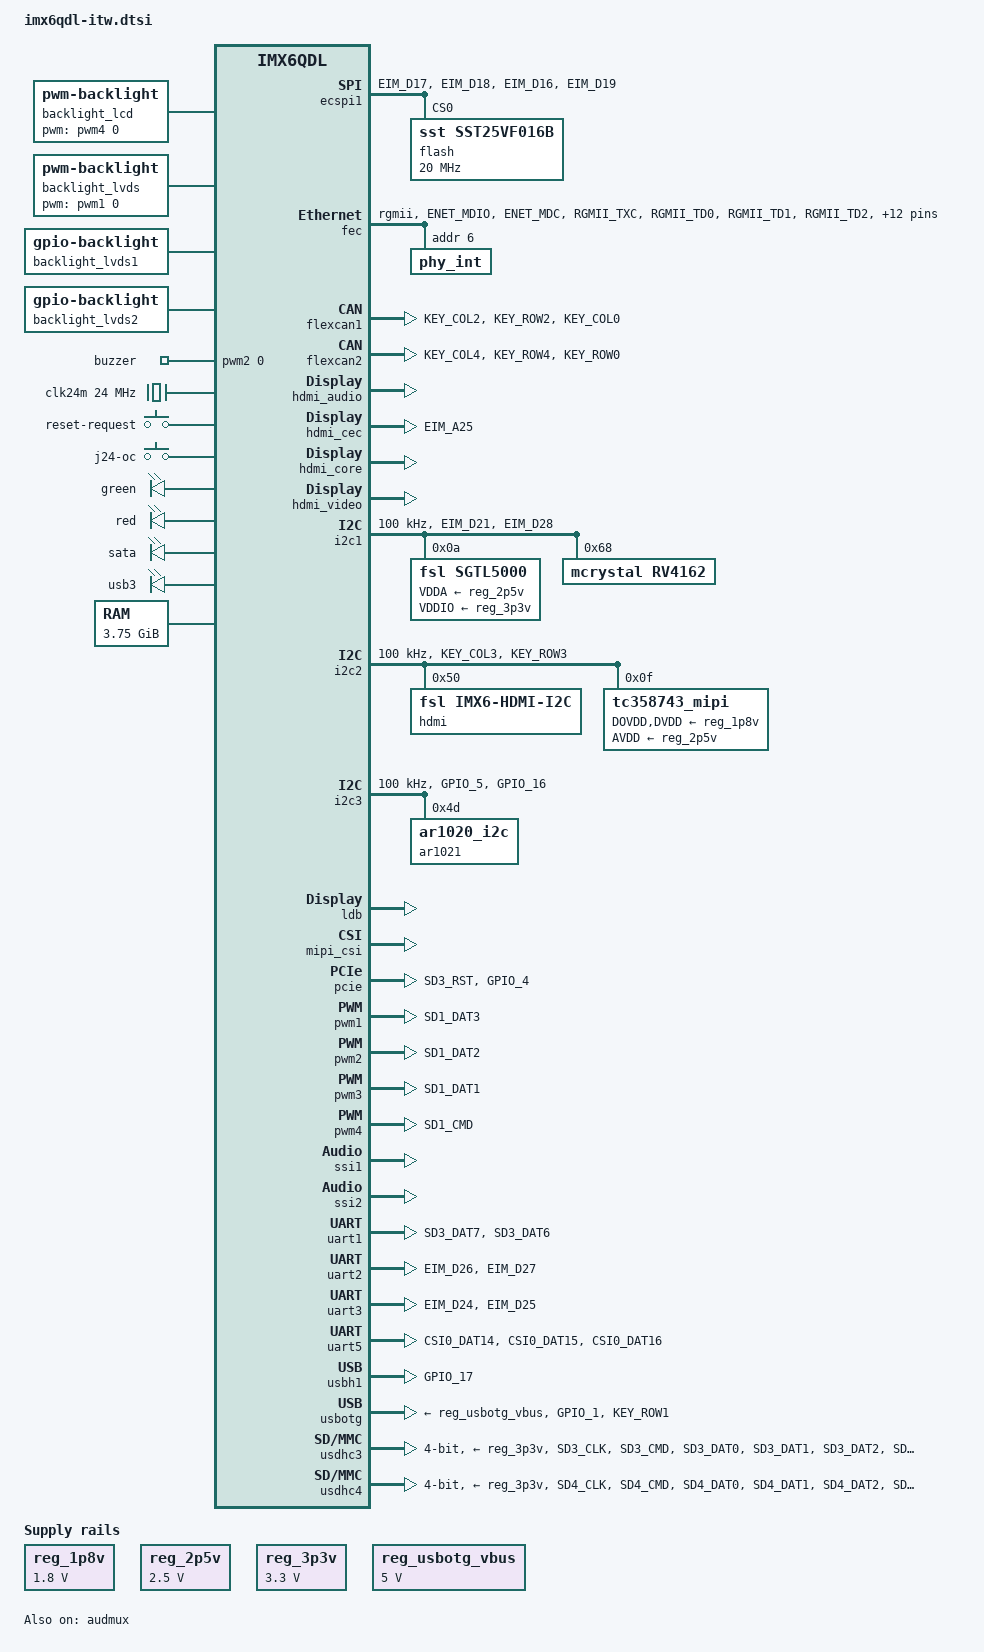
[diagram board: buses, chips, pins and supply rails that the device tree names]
/*
 * Copyright 2016 Boundary Devices, Inc.
 * Copyright 2012 Freescale Semiconductor, Inc.
 * Copyright 2011 Linaro Ltd.
 *
 * The code contained herein is licensed under the GNU General Public
 * License. You may obtain a copy of the GNU General Public License
 * Version 2 or later at the following locations:
 *
 * http://www.opensource.org/licenses/gpl-license.html
 * http://www.gnu.org/copyleft/gpl.html
 */
#include <dt-bindings/input/input.h>

&iomuxc {
	pinctrl-names = "default";
	pinctrl-0 = <&pinctrl_hog>;

	iomuxc_imx6q_itw: iomuxc-imx6q-itwgrp {
		status = "okay";
	};
};

&iomuxc_imx6q_itw {
	pinctrl_audmux: audmuxgrp {
		fsl,pins = <
			MX6QDL_PAD_CSI0_DAT7__AUD3_RXD		0x130b0
			MX6QDL_PAD_CSI0_DAT4__AUD3_TXC		0x130b0
			MX6QDL_PAD_CSI0_DAT5__AUD3_TXD		0x110b0
			MX6QDL_PAD_CSI0_DAT6__AUD3_TXFS		0x130b0
		>;
	};

	pinctrl_audmux_tc358743: audmux-tc358743grp {
		fsl,pins = <
			MX6QDL_PAD_SD2_DAT0__AUD4_RXD		0x130b0		/* pin 3 */
			MX6QDL_PAD_SD2_CMD__AUD4_RXC		0x130b0		/* pin 2 */
			MX6QDL_PAD_SD2_CLK__AUD4_RXFS		0x130b0		/* pin 1 */
		>;
	};

	pinctrl_backlight_lvds1_pwr: lvds1_pwrgrp {
		fsl,pins = <
#define GP_LVDS1_PWR_EN			<&gpio7 13 GPIO_ACTIVE_HIGH>
			MX6QDL_PAD_GPIO_18__GPIO7_IO13		0x030b0
#define GP_LVDS1_12V_5V_BL_SELECT	<&gpio1 9 GPIO_ACTIVE_HIGH>
			MX6QDL_PAD_GPIO_9__GPIO1_IO09		0x030b0
		>;
	};

	pinctrl_backlight_lvds2_pwr: lvds2_pwrgrp {
		fsl,pins = <
#define GP_LVDS2_PWR_EN			<&gpio4 5 GPIO_ACTIVE_HIGH>
			MX6QDL_PAD_GPIO_19__GPIO4_IO05		0x030b0
#define GP_LVDS2_12V_5V_BL_SELECT	<&gpio1 7 GPIO_ACTIVE_HIGH>
			MX6QDL_PAD_GPIO_7__GPIO1_IO07		0x030b0
		>;
	};

	pinctrl_backlight_rgb_pwr: rgb_pwrgrp {
		fsl,pins = <
#define GP_RGB_PWR_EN			<&gpio1 2 GPIO_ACTIVE_HIGH>
			MX6QDL_PAD_GPIO_2__GPIO1_IO02		0x030b0
#define GP_RGB_12V_5V_BL_SELECT		<&gpio1 8 GPIO_ACTIVE_HIGH>
			MX6QDL_PAD_GPIO_8__GPIO1_IO08		0x030b0
		>;
	};

	pinctrl_ecspi1: ecspi1grp {
		fsl,pins = <
			MX6QDL_PAD_EIM_D17__ECSPI1_MISO		0x100b1
			MX6QDL_PAD_EIM_D18__ECSPI1_MOSI		0x100b1
			MX6QDL_PAD_EIM_D16__ECSPI1_SCLK		0x000b1
#define GP_ECSPI1_NOR_CS		<&gpio3 19 GPIO_ACTIVE_LOW>
			MX6QDL_PAD_EIM_D19__GPIO3_IO19		0x0b0b1
		>;
	};

	pinctrl_enet: enetgrp {
		fsl,pins = <
			MX6QDL_PAD_ENET_MDIO__ENET_MDIO		0x1b0b0
			MX6QDL_PAD_ENET_MDC__ENET_MDC		0x1b0b0
			MX6QDL_PAD_RGMII_TXC__RGMII_TXC		0x1b0b0
			MX6QDL_PAD_RGMII_TD0__RGMII_TD0		0x1b0b0
			MX6QDL_PAD_RGMII_TD1__RGMII_TD1		0x1b0b0
			MX6QDL_PAD_RGMII_TD2__RGMII_TD2		0x1b0b0
			MX6QDL_PAD_RGMII_TD3__RGMII_TD3		0x1b0b0
			MX6QDL_PAD_RGMII_TX_CTL__RGMII_TX_CTL	0x1b0b0
			MX6QDL_PAD_ENET_REF_CLK__ENET_TX_CLK	0x1b0b0
			MX6QDL_PAD_RGMII_RXC__RGMII_RXC		0x1b0b0
			MX6QDL_PAD_RGMII_RD0__RGMII_RD0		0x1b0b0
			MX6QDL_PAD_RGMII_RD1__RGMII_RD1		0x1b0b0
			MX6QDL_PAD_RGMII_RD2__RGMII_RD2		0x1b0b0
			MX6QDL_PAD_RGMII_RD3__RGMII_RD3		0x1b0b0
			MX6QDL_PAD_RGMII_RX_CTL__RGMII_RX_CTL	0x1b0b0
#define GP_ENET_PHY_RESET		<&gpio1 27 GPIO_ACTIVE_LOW>
			MX6QDL_PAD_ENET_RXD0__GPIO1_IO27	0x030b0		/* ethernet phy reset */
#define GPIRQ_ENET_PHY			<&gpio1 28 IRQ_TYPE_LEVEL_LOW>
			MX6QDL_PAD_ENET_TX_EN__GPIO1_IO28	0x1b0b0		/* ethernet phy interrupt */
#define GPIRQ_ENET			<&gpio1 6 IRQ_TYPE_LEVEL_HIGH>
			MX6QDL_PAD_GPIO_6__ENET_IRQ		0x000b1
		>;
	};

	pinctrl_flexcan1: flexcan1grp {
		fsl,pins = <
			MX6QDL_PAD_KEY_COL2__FLEXCAN1_TX	0x1b0b0
			MX6QDL_PAD_KEY_ROW2__FLEXCAN1_RX	0x1b0b0
#define GP_FLEXCAN1_STANDBY		<&gpio4 6 GPIO_ACTIVE_HIGH>
			MX6QDL_PAD_KEY_COL0__GPIO4_IO06		0x0b0b0
		>;
	};

	pinctrl_flexcan2: flexcan2grp {
		fsl,pins = <
			MX6QDL_PAD_KEY_COL4__FLEXCAN2_TX	0x1b0b0
			MX6QDL_PAD_KEY_ROW4__FLEXCAN2_RX	0x1b0b0
#define GP_FLEXCAN2_STANDBY		<&gpio4 7 GPIO_ACTIVE_HIGH>
			MX6QDL_PAD_KEY_ROW0__GPIO4_IO07		0x0b0b0
		>;
	};

	pinctrl_gpio_keys: gpio-keysgrp {
		fsl,pins = <
#define GP_GPIOKEY_RESET_REQUEST <&gpio3 31 GPIO_ACTIVE_LOW>
			MX6QDL_PAD_EIM_D31__GPIO3_IO31		0x1b0b0
#define GP_GPIOKEY_J24_OC		<&gpio5 15 GPIO_ACTIVE_LOW>
			MX6QDL_PAD_DISP0_DAT21__GPIO5_IO15	0x1b0b0
		>;
	};

	pinctrl_gpio_leds: gpio-ledsgrp {
		fsl,pins = <
#define GP_GPIOLEDS_GREEN		<&gpio3 12 GPIO_ACTIVE_LOW>
			MX6QDL_PAD_EIM_DA12__GPIO3_IO12		0x0b0b0
#define GP_GPIOLEDS_RED			<&gpio3 6 GPIO_ACTIVE_LOW>
			MX6QDL_PAD_EIM_DA6__GPIO3_IO06		0x0b0b0
#define GP_GPIOLEDS_SATA		<&gpio2 17 GPIO_ACTIVE_LOW>
			MX6QDL_PAD_EIM_A21__GPIO2_IO17		0x0b0b0
#define GP_GPIOLEDS_USB3		<&gpio2 22 GPIO_ACTIVE_HIGH>
			MX6QDL_PAD_EIM_A16__GPIO2_IO22		0x030b0
		>;
	};

	pinctrl_hdmi_cec: hdmi-cecgrp {
		fsl,pins = <
			MX6QDL_PAD_EIM_A25__HDMI_TX_CEC_LINE	0x1f8b0
		>;
	};

	pinctrl_hog: hoggrp {
		fsl,pins = <
#define GP_RESET1			<&gpio5 26 GPIO_ACTIVE_LOW>
			MX6QDL_PAD_CSI0_DAT8__GPIO5_IO26	0x030b0
#define GP_RESET2			<&gpio5 27 GPIO_ACTIVE_LOW>
			MX6QDL_PAD_CSI0_DAT9__GPIO5_IO27	0x030b0
#define GP_RESET3			<&gpio5 28 GPIO_ACTIVE_LOW>
			MX6QDL_PAD_CSI0_DAT10__GPIO5_IO28	0x030b0
#define GP_RESET4			<&gpio5 29 GPIO_ACTIVE_LOW>
			MX6QDL_PAD_CSI0_DAT11__GPIO5_IO29	0x030b0
#define GP_RESET5			<&gpio5 30 GPIO_ACTIVE_LOW>
			MX6QDL_PAD_CSI0_DAT12__GPIO5_IO30	0x030b0

#define GP_12V_EN			<&gpio4 20 GPIO_ACTIVE_HIGH>
			MX6QDL_PAD_DI0_PIN4__GPIO4_IO20		0x030b0
#define GP_J24_EN			<&gpio5 16 GPIO_ACTIVE_HIGH>
			MX6QDL_PAD_DISP0_DAT22__GPIO5_IO16	0x030b0
#define GP_AT91_RESET			<&gpio5 17 GPIO_ACTIVE_LOW>
			MX6QDL_PAD_DISP0_DAT23__GPIO5_IO17	0x0b0b0
#define GP_CPU_RESET			<&gpio1 3 GPIO_ACTIVE_HIGH>
			MX6QDL_PAD_GPIO_3__GPIO1_IO03		0x030b0

#define GP_TP80				<&gpio5 31 GPIO_ACTIVE_HIGH>
			MX6QDL_PAD_CSI0_DAT13__GPIO5_IO31	0x1b0b0
#define GP_TP82				<&gpio2 23 GPIO_ACTIVE_HIGH>
			MX6QDL_PAD_EIM_CS0__GPIO2_IO23		0x1b0b0
#define GP_TP83				<&gpio3 23 GPIO_ACTIVE_HIGH>
			MX6QDL_PAD_EIM_D23__GPIO3_IO23		0x1b0b0
#define GP_TP87				<&gpio1 20 GPIO_ACTIVE_HIGH>
			MX6QDL_PAD_SD1_CLK__GPIO1_IO20		0x1b0b0
#define GP_TP88				<&gpio2 4 GPIO_ACTIVE_HIGH>
			MX6QDL_PAD_NANDF_D4__GPIO2_IO04		0x1b0b0
#define GP_TP89				<&gpio1 14 GPIO_ACTIVE_HIGH>
			MX6QDL_PAD_SD2_DAT1__GPIO1_IO14		0x1b0b0
#define GP_TP90				<&gpio2 7 GPIO_ACTIVE_HIGH>
			MX6QDL_PAD_NANDF_D7__GPIO2_IO07		0x1b0b0
#define GP_TP91				<&gpio2 19 GPIO_ACTIVE_HIGH>
			MX6QDL_PAD_EIM_A19__GPIO2_IO19		0x1b0b0
#define GP_TP94				<&gpio1 13 GPIO_ACTIVE_HIGH>
			MX6QDL_PAD_SD2_DAT2__GPIO1_IO13		0x1b0b0

#define GP_J54_LVDS_BIT0		<&gpio6 16 GPIO_ACTIVE_HIGH>	/* Link1 schem */
			MX6QDL_PAD_NANDF_CS3__GPIO6_IO16	0x1b0b0
#define GP_J54_LVDS_BIT1		<&gpio6 7 GPIO_ACTIVE_HIGH>	/* Link2 schem */
			MX6QDL_PAD_NANDF_CLE__GPIO6_IO07	0x1b0b0
#define GP_LVDS_BIT2			<&gpio2 2 GPIO_ACTIVE_HIGH>	/* J6 pin 18 Link3 schem */
			MX6QDL_PAD_NANDF_D2__GPIO2_IO02		0x1b0b0

#define GP_J54_LVDS2_BIT0		<&gpio2 1 GPIO_ACTIVE_HIGH>	/* Link4 schem */
			MX6QDL_PAD_NANDF_D1__GPIO2_IO01	0x1b0b0
#define GP_J54_LVDS2_BIT1		<&gpio6 10 GPIO_ACTIVE_HIGH>	/* Link5 schem */
			MX6QDL_PAD_NANDF_RB0__GPIO6_IO10	0x1b0b0
#define GP_LVDS2_BIT2			<&gpio2 3 GPIO_ACTIVE_HIGH>	/* J10 pin 20 Link6 schem */
			MX6QDL_PAD_NANDF_D3__GPIO2_IO03	0x1b0b0

#define GP_J54_RGB_BIT0			<&gpio6 15 GPIO_ACTIVE_HIGH>	/* Link6 schem */
			MX6QDL_PAD_NANDF_CS2__GPIO6_IO15	0x1b0b0
#define GP_J54_RGB_BIT1			<&gpio6 14 GPIO_ACTIVE_HIGH>	/* Link7 schem */
			MX6QDL_PAD_NANDF_CS1__GPIO6_IO14	0x1b0b0
#define GP_J54_RGB_BIT2			<&gpio6 11 GPIO_ACTIVE_HIGH>	/* Link8 schem */
			MX6QDL_PAD_NANDF_CS0__GPIO6_IO11	0x1b0b0
#define GP_J54_L9			<&gpio6 8 GPIO_ACTIVE_HIGH>	/* Link9 schem */
			MX6QDL_PAD_NANDF_ALE__GPIO6_IO08	0x1b0b0

		>;
	};

	pinctrl_i2c1: i2c1grp {
		fsl,pins = <
			MX6QDL_PAD_EIM_D21__I2C1_SCL		0x4001b8b1
			MX6QDL_PAD_EIM_D28__I2C1_SDA		0x4001b8b1
		>;
	};

	pinctrl_i2c1_rv4162: i2c1-rv4162grp {
		fsl,pins = <
#define GPIRQ_RTC_RV4162		<&gpio2 24 IRQ_TYPE_LEVEL_LOW>
			MX6QDL_PAD_EIM_CS1__GPIO2_IO24		0x1b0b0
		>;
	};

	pinctrl_i2c1_sgtl5000: i2c1-sgtl5000grp {
		fsl,pins = <
			MX6QDL_PAD_GPIO_0__CCM_CLKO1		0x000b0		/* sys_mclk */
#define GP_SGTL5000_HP_MUTE		<&gpio2 0 GPIO_ACTIVE_LOW>
			MX6QDL_PAD_NANDF_D0__GPIO2_IO00		0x130b0		/* amplifier mute, weak pull-down */
#define GPIRQ_SGTL5000_MIC_DET		<&gpio1 24 GPIO_ACTIVE_LOW>
			MX6QDL_PAD_ENET_RX_ER__GPIO1_IO24	0x1b0b0
#define GPIRQ_SGTL5000_SPKR_DET		<&gpio4 8 GPIO_ACTIVE_LOW>
			MX6QDL_PAD_KEY_COL1__GPIO4_IO08		0x1b0b0
		>;
	};

	pinctrl_i2c2: i2c2grp {
		fsl,pins = <
			MX6QDL_PAD_KEY_COL3__I2C2_SCL		0x4001b8b1
			MX6QDL_PAD_KEY_ROW3__I2C2_SDA		0x4001b8b1
		>;
	};

	pinctrl_i2c2_tc358743_mipi: i2c2-tc358743-mipigrp {
		fsl,pins = <
#define GP_TC3587_RESET	<&gpio6 9 GPIO_ACTIVE_LOW>
			MX6QDL_PAD_NANDF_WP_B__GPIO6_IO09	0x030b0
#define GPIRQ_TC3587		<&gpio2 5 IRQ_TYPE_LEVEL_LOW>
			MX6QDL_PAD_NANDF_D5__GPIO2_IO05		0x0b0b0
		>;
	};

	pinctrl_i2c3: i2c3grp {
		fsl,pins = <
			MX6QDL_PAD_GPIO_5__I2C3_SCL		0x4001b8b1
			MX6QDL_PAD_GPIO_16__I2C3_SDA		0x4001b8b1
		>;
	};

	pinctrl_i2c3_ar1021: i2c3-ar1021grp {
		fsl,pins = <
#define GPIRQ_AR1021		<&gpio7 1 IRQ_TYPE_LEVEL_HIGH>
#define GP_AR1021		<&gpio7 1 GPIO_ACTIVE_HIGH>
			MX6QDL_PAD_SD3_DAT4__GPIO7_IO01		0x130b0
		>;
	};

	pinctrl_lcd: lcdgrp {
		fsl,pins = <
			MX6QDL_PAD_DI0_DISP_CLK__IPU1_DI0_DISP_CLK	0x10
			MX6QDL_PAD_DI0_PIN15__IPU1_DI0_PIN15		0x10
			MX6QDL_PAD_DI0_PIN2__IPU1_DI0_PIN02		0x10
			MX6QDL_PAD_DI0_PIN3__IPU1_DI0_PIN03		0x10
			MX6QDL_PAD_DISP0_DAT0__IPU1_DISP0_DATA00	0x10
			MX6QDL_PAD_DISP0_DAT1__IPU1_DISP0_DATA01	0x10
			MX6QDL_PAD_DISP0_DAT2__IPU1_DISP0_DATA02	0x10
			MX6QDL_PAD_DISP0_DAT3__IPU1_DISP0_DATA03	0x10
			MX6QDL_PAD_DISP0_DAT4__IPU1_DISP0_DATA04	0x10
			MX6QDL_PAD_DISP0_DAT5__IPU1_DISP0_DATA05	0x10
			MX6QDL_PAD_DISP0_DAT6__IPU1_DISP0_DATA06	0x10
			MX6QDL_PAD_DISP0_DAT7__IPU1_DISP0_DATA07	0x10
			MX6QDL_PAD_DISP0_DAT8__IPU1_DISP0_DATA08	0x10
			MX6QDL_PAD_DISP0_DAT9__IPU1_DISP0_DATA09	0x10
			MX6QDL_PAD_DISP0_DAT10__IPU1_DISP0_DATA10	0x10
			MX6QDL_PAD_DISP0_DAT11__IPU1_DISP0_DATA11	0x10
			MX6QDL_PAD_DISP0_DAT12__IPU1_DISP0_DATA12	0x10
			MX6QDL_PAD_DISP0_DAT13__IPU1_DISP0_DATA13	0x10
			MX6QDL_PAD_DISP0_DAT14__IPU1_DISP0_DATA14	0x10
			MX6QDL_PAD_DISP0_DAT15__IPU1_DISP0_DATA15	0x10
			MX6QDL_PAD_DISP0_DAT16__IPU1_DISP0_DATA16	0x10
			MX6QDL_PAD_DISP0_DAT17__IPU1_DISP0_DATA17	0x10
#define GP_RGB_MIRROR_H		<&gpio2 25 GPIO_ACTIVE_LOW>
			MX6QDL_PAD_EIM_OE__GPIO2_IO25			0x0b0b0		/* DI0 display left/right mirror */
#define GP_RGB_MIRROR_V		<&gpio2 27 GPIO_ACTIVE_HIGH>
			MX6QDL_PAD_EIM_LBA__GPIO2_IO27			0x030b0		/* DI0 display up/down mirror */
		>;
	};

	pinctrl_pcie: pciegrp {
		fsl,pins = <
#define GP_PCIE_RESET			<&gpio7 8 GPIO_ACTIVE_LOW>
			MX6QDL_PAD_SD3_RST__GPIO7_IO08		0x030b0
#define GP_PCIE_DISABLE			<&gpio1 4 GPIO_ACTIVE_LOW>
			MX6QDL_PAD_GPIO_4__GPIO1_IO04		0x030b0
		>;
	};

	/* PWM1 - Backlight on LVDS0 connector: J6, pin 28, LVDS1 J10, pin 6 */
	pinctrl_pwm1: pwm1grp {
		fsl,pins = <
			MX6QDL_PAD_SD1_DAT3__PWM1_OUT		0x030b1
		>;
	};

	/* PWM2 - Buzzer */
	pinctrl_pwm2: pwm2grp {
		fsl,pins = <
			MX6QDL_PAD_SD1_DAT2__PWM2_OUT		0x030b1
		>;
	};

	/* PWM3 - mipi, J23, pin 10 */
	pinctrl_pwm3: pwm3grp {
		fsl,pins = <
			MX6QDL_PAD_SD1_DAT1__PWM3_OUT		0x030b1
		>;
	};

	/* PWM4 - Backlight on RGB connector: J15, pin 38 */
	pinctrl_pwm4: pwm4grp {
		fsl,pins = <
			MX6QDL_PAD_SD1_CMD__PWM4_OUT		0x030b1
		>;
	};

	pinctrl_reg_usbotg_vbus: reg-usbotg-vbusgrp {
		fsl,pins = <
#define GP_REG_USBOTG			<&gpio3 22 GPIO_ACTIVE_HIGH>
			MX6QDL_PAD_EIM_D22__GPIO3_IO22		0x030b0
		>;
	};

	pinctrl_uart1: uart1grp {
		fsl,pins = <
			MX6QDL_PAD_SD3_DAT7__UART1_TX_DATA	0x1b0b1
			MX6QDL_PAD_SD3_DAT6__UART1_RX_DATA	0x1b0b1
		>;
	};

	pinctrl_uart2: uart2grp {
		fsl,pins = <
			MX6QDL_PAD_EIM_D26__UART2_TX_DATA	0x1b0b1
			MX6QDL_PAD_EIM_D27__UART2_RX_DATA	0x1b0b1
		>;
	};

	pinctrl_uart3: uart3grp {
		fsl,pins = <
			MX6QDL_PAD_EIM_D24__UART3_TX_DATA	0x1b0b1
			MX6QDL_PAD_EIM_D25__UART3_RX_DATA	0x1b0b1
		>;
	};

	pinctrl_uart5: uart5grp {
		fsl,pins = <
			MX6QDL_PAD_CSI0_DAT14__UART5_TX_DATA	0x0b0b1
			MX6QDL_PAD_CSI0_DAT15__UART5_RX_DATA	0x1b0b1
#define GP_UART5_RS485_OUTPUT		<&gpio6 2 GPIO_ACTIVE_HIGH>
			MX6QDL_PAD_CSI0_DAT16__GPIO6_IO02	0x030b0
		>;
	};

	pinctrl_usbh1: usbh1grp {
		fsl,pins = <
#define GP_USBH1_HUB_RESET		<&gpio7 12 GPIO_ACTIVE_LOW>
			MX6QDL_PAD_GPIO_17__GPIO7_IO12		0x030b0
		>;
	};

	pinctrl_usbotg: usbotggrp {
		fsl,pins = <
			MX6QDL_PAD_GPIO_1__USB_OTG_ID		0x17059
#define GP_USBOTG_OC			<&gpio4 9 GPIO_ACTIVE_LOW>
			MX6QDL_PAD_KEY_ROW1__GPIO4_IO09		0x1b0b1
		>;
	};

	pinctrl_usdhc3: usdhc3grp {
		fsl,pins = <
			MX6QDL_PAD_SD3_CLK__SD3_CLK		0x10059
			MX6QDL_PAD_SD3_CMD__SD3_CMD		0x17059
			MX6QDL_PAD_SD3_DAT0__SD3_DATA0		0x17059
			MX6QDL_PAD_SD3_DAT1__SD3_DATA1		0x17059
			MX6QDL_PAD_SD3_DAT2__SD3_DATA2		0x17059
			MX6QDL_PAD_SD3_DAT3__SD3_DATA3		0x17059
#define GP_USDHC3_CD	<&gpio7 0 GPIO_ACTIVE_LOW>
			MX6QDL_PAD_SD3_DAT5__GPIO7_IO00		0x1b0b0
		>;
	};

	pinctrl_usdhc4: usdhc4grp {
		fsl,pins = <
			MX6QDL_PAD_SD4_CLK__SD4_CLK		0x10059
			MX6QDL_PAD_SD4_CMD__SD4_CMD		0x17059
			MX6QDL_PAD_SD4_DAT0__SD4_DATA0		0x17059
			MX6QDL_PAD_SD4_DAT1__SD4_DATA1		0x17059
			MX6QDL_PAD_SD4_DAT2__SD4_DATA2		0x17059
			MX6QDL_PAD_SD4_DAT3__SD4_DATA3		0x17059
#define GP_USDHC4_CD	<&gpio2 6 GPIO_ACTIVE_LOW>
			MX6QDL_PAD_NANDF_D6__GPIO2_IO06		0x1b0b0
		>;
	};
};

/ {
	aliases {
		fb_hdmi = &fb_hdmi;
		fb_lcd = &fb_lcd;
		fb_lvds = &fb_lvds;
		fb_lvds2 = &fb_lvds2;
		lcd = &lcd;
		ldb = &ldb;
		mmc0 = &usdhc3;
		mmc1 = &usdhc4;
		mmc2 = &usdhc2;
		mxcfb0 = &fb_hdmi;
		mxcfb1 = &fb_lcd;
		mxcfb2 = &fb_lvds;
		mxcfb3 = &fb_lvds2;
		t_lvds = &t_lvds;
		t_lvds2 = &t_lvds2;
	};

	backlight_lcd: backlight_lcd {
		brightness-levels = <0 1 2 3 4 5 6 7 8 9 10>;
		compatible = "pwm-backlight";
		default-brightness-level = <8>;
		display = <&fb_lcd>;
		enable-gpios = GP_RGB_PWR_EN;
		pinctrl-names = "default";
		pinctrl-0 = <&pinctrl_backlight_rgb_pwr>;
		pwms = <&pwm4 0 5000000>;
	};

	backlight_lvds {
		brightness-levels = <0 1 2 3 4 5 6 7 8 9 10>;
		compatible = "pwm-backlight";
		default-brightness-level = <8>;
		display = <&fb_lvds>, <&fb_lvds2>;
		pwms = <&pwm1 0 5000000>;
	};

	backlight_lvds1 {
		compatible = "gpio-backlight";
		default-on;
		display = <&fb_lvds>;
		gpios = GP_LVDS1_PWR_EN;
		pinctrl-names = "default";
		pinctrl-0 = <&pinctrl_backlight_lvds1_pwr>;
	};

	backlight_lvds2 {
		compatible = "gpio-backlight";
		default-on;
		display = <&fb_lvds2>;
		gpios = GP_LVDS2_PWR_EN;
		pinctrl-names = "default";
		pinctrl-0 = <&pinctrl_backlight_lvds2_pwr>;
	};

	buzzer {
		compatible = "pwm-leds";
		piezo {
			label = "buzzer";
			pwms = <&pwm2 0 7812500>;
			max-brightness = <256>;
		};
	};

	clocks {
		clk24m: clk24m {
			compatible = "fixed-clock";
			#clock-cells = <0>;
			clock-frequency = <24000000>;
		};
	};

	fb_hdmi: fb@0 {
		compatible = "fsl,mxc_sdc_fb";
		disp_dev = "hdmi";
		interface_pix_fmt = "RGB24";
		mode_str ="1280x720M@60";
		default_bpp = <32>;
		int_clk = <0>;
		late_init = <0>;
		status = "disabled";
	};

	fb_lcd: fb@1 {
		compatible = "fsl,mxc_sdc_fb";
		disp_dev = "lcd";
		interface_pix_fmt = "RGB666";
		default_bpp = <16>;
		int_clk = <0>;
		late_init = <0>;
		status = "disabled";
	};

	fb_lvds: fb@2 {
		compatible = "fsl,mxc_sdc_fb";
		disp_dev = "ldb";
		interface_pix_fmt = "RGB666";
		default_bpp = <16>;
		int_clk = <0>;
		late_init = <0>;
		status = "disabled";
	};

	fb_lvds2: fb@3 {
		compatible = "fsl,mxc_sdc_fb";
		disp_dev = "ldb";
		interface_pix_fmt = "RGB666";
		default_bpp = <16>;
		int_clk = <0>;
		late_init = <0>;
		status = "disabled";
	};

	gpio-keys {
		compatible = "gpio-keys";
		pinctrl-names = "default";
		pinctrl-0 = <&pinctrl_gpio_keys>;

		reset-request {
			label = "reset-request";
			gpios = GP_GPIOKEY_RESET_REQUEST;
			linux,code = <KEY_FN_F1>;
		};

		j24-oc {
			label = "j24-oc";
			gpios = GP_GPIOKEY_J24_OC;
			linux,code = <KEY_FN_F2>;
		};
	};

	leds {
		compatible = "gpio-leds";
		pinctrl-names = "default";
		pinctrl-0 = <&pinctrl_gpio_leds>;
		green {
			gpios = GP_GPIOLEDS_GREEN;
			retain-state-suspended;
			default-state = "off";
		};
		red {
			gpios = GP_GPIOLEDS_RED;
			retain-state-suspended;
			default-state = "off";
		};
		sata {
			gpios = GP_GPIOLEDS_SATA;
			retain-state-suspended;
			default-state = "off";
		};
		usb3 {
			gpios = GP_GPIOLEDS_USB3;
			retain-state-suspended;
			default-state = "off";
		};
	};

	lcd: lcd@0 {
		compatible = "fsl,lcd";
		ipu_id = <0>;
		disp_id = <0>;
		default_ifmt = "RGB666";
		pinctrl-names = "default";
		pinctrl-0 = <&pinctrl_lcd>;
		status = "okay";
	};

	memory {
		reg = <0x10000000 0xeffffc00>;
	};

	regulators {
		compatible = "simple-bus";
		#address-cells = <1>;
		#size-cells = <0>;

		reg_1p8v: regulator@0 {
			compatible = "regulator-fixed";
			reg = <0>;
			regulator-name = "1P8V";
			regulator-min-microvolt = <1800000>;
			regulator-max-microvolt = <1800000>;
			regulator-always-on;
		};

		reg_2p5v: regulator@1 {
			compatible = "regulator-fixed";
			reg = <1>;
			regulator-name = "2P5V";
			regulator-min-microvolt = <2500000>;
			regulator-max-microvolt = <2500000>;
			regulator-always-on;
		};

		reg_3p3v: regulator@2 {
			compatible = "regulator-fixed";
			reg = <2>;
			regulator-name = "3P3V";
			regulator-min-microvolt = <3300000>;
			regulator-max-microvolt = <3300000>;
			regulator-always-on;
		};

		reg_usbotg_vbus: regulator@3 {
			compatible = "regulator-fixed";
			reg = <3>;
			pinctrl-names = "default";
			pinctrl-0 = <&pinctrl_reg_usbotg_vbus>;
			regulator-name = "usb_otg_vbus";
			regulator-min-microvolt = <5000000>;
			regulator-max-microvolt = <5000000>;
			gpio = GP_REG_USBOTG;
			enable-active-high;
		};
	};

	sound {
		compatible = "fsl,imx6q-itw-sgtl5000",
			     "fsl,imx-audio-sgtl5000";
		model = "imx6q-itw-sgtl5000";
		cpu-dai = <&ssi1>;
		audio-codec = <&sgtl5000>;
		audio-routing =
			"MIC_IN", "Mic Jack",
			"Mic Jack", "Mic Bias",
			"Headphone Jack", "HP_OUT";
		mux-int-port = <1>;
		mux-ext-port = <3>;
		mute-gpios = GP_SGTL5000_HP_MUTE;
	};

	sound-hdmi {
		compatible = "fsl,imx6q-audio-hdmi",
			     "fsl,imx-audio-hdmi";
		model = "imx-audio-hdmi";
		hdmi-controller = <&hdmi_audio>;
	};

	sound-hdmi-input {
		compatible = "fsl,imx-audio-tc358743";
		cpu-dai = <&ssi2>;
		model = "imx-audio-tc358743";
		mux-int-port = <2>;
		mux-ext-port = <4>;
		pinctrl-names = "default";
		pinctrl-0 = <&pinctrl_audmux_tc358743>;
	};

	v4l2_cap_0 {
		compatible = "fsl,imx6q-v4l2-capture";
		ipu_id = <0>;
		csi_id = <0>;
		mipi_camera = <1>;
		mclk_source = <0>;
		status = "okay";
	};

	v4l2_out {
		compatible = "fsl,mxc_v4l2_output";
		status = "okay";
	};
};

&audmux {
	pinctrl-names = "default";
	pinctrl-0 = <&pinctrl_audmux>;
	status = "okay";
};

&ecspi1 {
	pinctrl-names = "default";
	pinctrl-0 = <&pinctrl_ecspi1>;
	fsl,spi-num-chipselects = <1>;
	cs-gpios = GP_ECSPI1_NOR_CS;
	status = "okay";

	flash: m25p80@0 {
		compatible = "sst,sst25vf016b";
		spi-max-frequency = <20000000>;
		reg = <0>;
		#address-cells = <1>;
		#size-cells = <1>;
		mtd@00000000 {
			label = "U-Boot";
			reg = <0x0 0xC0000>;
		};

		mtd@000C0000 {
			label = "env";
			reg = <0xC0000 0x2000>;
		};
		mtd@000C2000 {
			label = "spare";
			reg = <0xC2000 0x3e000>;
		};
		mtd@00100000 {
			label = "mfgSection";
			reg = <0x100000 0x10000>;
		};
		mtd@00110000 {
			label = "scaleHWConfig";
			reg = <0x110000 0x10000>;
		};
		mtd@00120000 {
			label = "scaleSWConfig";
			reg = <0x120000 0x40000>;
		};
		mtd@00160000 {
			label = "scaleKeys";
			reg = <0x160000 0x80000>;
		};
		mtd@001E0000 {
			label = "scale_unused";
			reg = <0x1e0000 0x20000>;
		};
	};
};

&fec {
	pinctrl-names = "default";
	pinctrl-0 = <&pinctrl_enet>;
	phy-mode = "rgmii";
#if 0
	phy-reset-gpios = GP_ENET_PHY_RESET;
#endif
	interrupts-extended = GPIRQ_ENET,
			      <&intc 0 119 IRQ_TYPE_LEVEL_HIGH>;
	status = "okay";

	#address-cells = <0>;
	#size-cells = <1>;
	phy_int {
		reg = <0x6>;
		interrupts-extended = GPIRQ_ENET_PHY;
	};
};

&flexcan1 {
	pinctrl-names = "default";
	pinctrl-0 = <&pinctrl_flexcan1>;
	trx-stby-gpio = GP_FLEXCAN1_STANDBY;
	status = "okay";
};

&flexcan2 {
	pinctrl-names = "default";
	pinctrl-0 = <&pinctrl_flexcan2>;
	trx-stby-gpio = GP_FLEXCAN2_STANDBY;
	status = "okay";
};

&hdmi_audio {
	status = "okay";
};

&hdmi_cec {
	pinctrl-names = "default";
	pinctrl-0 = <&pinctrl_hdmi_cec>;
	status = "okay";
};

&hdmi_core {
	ipu_id = <1>;
	disp_id = <0>;
	status = "okay";
};

&hdmi_video {
	fsl,phy_reg_vlev = <0x0294>;
	fsl,phy_reg_cksymtx = <0x800d>;
	status = "okay";
};

&i2c1 {
	clock-frequency = <100000>;
	pinctrl-names = "default";
	pinctrl-0 = <&pinctrl_i2c1>;
	status = "okay";

	sgtl5000: sgtl5000@0a {
		compatible = "fsl,sgtl5000";
		pinctrl-names = "default";
		pinctrl-0 = <&pinctrl_i2c1_sgtl5000>;
		reg = <0x0a>;
		clocks = <&clks IMX6QDL_CLK_CKO>;
		VDDA-supply = <&reg_2p5v>;
		VDDIO-supply = <&reg_3p3v>;
	};
	rv4162@68 {
		compatible = "mcrystal,rv4162";
		pinctrl-names = "default";
		pinctrl-0 = <&pinctrl_i2c1_rv4162>;
		reg = <0x68>;
		interrupts-extended = GPIRQ_RTC_RV4162;
	};
};

&i2c2 {
	clock-frequency = <100000>;
	pinctrl-names = "default";
	pinctrl-0 = <&pinctrl_i2c2>;
	status = "okay";

	hdmi: edid@50 {
		compatible = "fsl,imx6-hdmi-i2c";
		reg = <0x50>;
	};

	tc358743_mipi: tc358743_mipi@0f {
		compatible = "tc358743_mipi";
		reg = <0x0f>;
		pinctrl-names = "default";
		pinctrl-0 = <&pinctrl_i2c2_tc358743_mipi>;
		DOVDD-supply = <&reg_1p8v>;
		AVDD-supply = <&reg_2p5v>;
		DVDD-supply = <&reg_1p8v>;
		rst-gpios = GP_TC3587_RESET;
		interrupts-extended = GPIRQ_TC3587;
		ipu_id = <0>;
		csi_id = <0>;
		mclk = <22000000>;
		mclk_source = <0>;
	};
};

&i2c3 {
	clock-frequency = <100000>;
	pinctrl-names = "default";
	pinctrl-0 = <&pinctrl_i2c3>;
	status = "okay";

	ar1021@4d {
		compatible = "ar1020_i2c";
		pinctrl-names = "default";
		pinctrl-0 = <&pinctrl_i2c3_ar1021>;
		reg = <0x4d>;
		interrupts-extended = GPIRQ_AR1021;
		wakeup-gpios = GP_AR1021;
	};
};

&ldb {
	status = "okay";

	lvds-channel@0 {
		crtc = "ipu1-di1";
		fsl,data-mapping = "spwg";
		fsl,data-width = <18>;
		status = "okay";
		primary;

		display-timings {
			t_lvds: t_lvds_default {
				/* lg1280x800 values may be changed in bootscript */
				clock-frequency = <72000000>;
				hactive = <1280>;
				vactive = <800>;
				hback-porch = <48>;
				hfront-porch = <80>;
				vback-porch = <15>;
				vfront-porch = <2>;
				hsync-len = <32>;
				vsync-len = <6>;
			};
		};
	};

	lvds-channel@1 {
		crtc = "ipu2-di1";
		fsl,data-mapping = "spwg";
		fsl,data-width = <18>;
		status = "okay";

		display-timings {
			t_lvds2: t_lvds2_default {
				/* lg1280x800 values may be changed in bootscript */
				clock-frequency = <72000000>;
				hactive = <1280>;
				vactive = <800>;
				hback-porch = <48>;
				hfront-porch = <80>;
				vback-porch = <15>;
				vfront-porch = <2>;
				hsync-len = <32>;
				vsync-len = <6>;
			};
		};
	};
};

&mipi_csi {
	lanes = <2>;
	status = "okay";
};

&pcie {
	pinctrl-names = "default";
	pinctrl-0 = <&pinctrl_pcie>;
	reset-gpio = GP_PCIE_RESET;
	status = "okay";
};

&pwm1 {
	pinctrl-names = "default";
	pinctrl-0 = <&pinctrl_pwm1>;
	status = "okay";
};

&pwm2 {
	pinctrl-names = "default";
	pinctrl-0 = <&pinctrl_pwm2>;
	status = "okay";
};

&pwm3 {
	pinctrl-names = "default";
	pinctrl-0 = <&pinctrl_pwm3>;
	status = "okay";
};

&pwm4 {
	pinctrl-names = "default";
	pinctrl-0 = <&pinctrl_pwm4>;
	status = "okay";
};

&ssi1 {
	fsl,mode = "i2s-slave";
	status = "okay";
};

&ssi2 {
	fsl,mode = "i2s-slave";
	status = "okay";
};

&uart1 {
	pinctrl-names = "default";
	pinctrl-0 = <&pinctrl_uart1>;
	status = "okay";
};

&uart2 {
	pinctrl-names = "default";
	pinctrl-0 = <&pinctrl_uart2>;
	status = "okay";
};

&uart3 {
	pinctrl-names = "default";
	pinctrl-0 = <&pinctrl_uart3>;
	status = "okay";
};

&uart5 {
	pinctrl-names = "default";
	pinctrl-0 = <&pinctrl_uart5>;
	control-gpios = GP_UART5_RS485_OUTPUT;
#define M_TX_EN		1
	off_levels = <0>;
	rxact_mask = <0>;
	rxact_levels = <0>;
	rs232_levels = <M_TX_EN>;
	rs232_txen_mask = <0>;
	rs232_txen_levels = <0>;
	rs485_levels = <0x0>;
	rs485_txen_mask = <M_TX_EN>;
	rs485_txen_levels = <M_TX_EN>;
	uart-has-rs485-half-duplex;
	rs485-mode = <1>;	/* 1 to enable */
	status = "okay";
};

&usbh1 {
	pinctrl-names = "default";
	pinctrl-0 = <&pinctrl_usbh1>;
	disable-over-current;
	reset-gpios = GP_USBH1_HUB_RESET;
	status = "okay";
};

&usbotg {
	vbus-supply = <&reg_usbotg_vbus>;
	pinctrl-names = "default";
	pinctrl-0 = <&pinctrl_usbotg>;
	disable-over-current;
	status = "okay";
};

&usdhc3 {
	pinctrl-names = "default";
	pinctrl-0 = <&pinctrl_usdhc3>;
	bus-width = <4>;
	cd-gpios = GP_USDHC3_CD;
	vmmc-supply = <&reg_3p3v>;
	status = "okay";
};

&usdhc4 {
	pinctrl-names = "default";
	pinctrl-0 = <&pinctrl_usdhc4>;
	bus-width = <4>;
	cd-gpios = GP_USDHC4_CD;
	vmmc-supply = <&reg_3p3v>;
	status = "okay";
};
